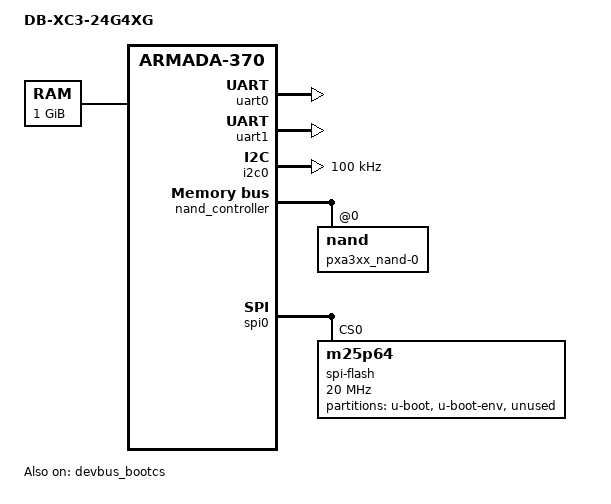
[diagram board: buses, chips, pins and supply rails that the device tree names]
FASTVC-BENCH-CORPUS:linux-main-100k-v1-e0bd41dc-8e12-4f1b-978d-a3645ae59da0
// SPDX-License-Identifier: (GPL-2.0+ OR MIT)
/*
 * Device Tree file for DB-XC3-24G4XG board
 *
 * Copyright (C) 2016 Allied Telesis Labs
/* bench 20943.0.0 9e3f0ca719c5 */
/* bench 20943.0.1 c22e3554c2f2 */
/* bench 20943.0.2 257d23a644bd */
/* bench 20943.0.3 8b692de707be */
/* bench 20943.0.4 5622f7fd3ee6 */
 *
 * Note: this Device Tree assumes that the bootloader has remapped the
 * internal registers to 0xf1000000 (instead of the default
 * 0xd0000000). The 0xf1000000 is the default used by the recent,
 * DT-capable, U-Boot bootloaders provided by Marvell. Some earlier
 * boards were delivered with an older version of the bootloader that
 * left internal registers mapped at 0xd0000000. If you are in this
 * situation, you should either update your bootloader (preferred
 * solution) or the below Device Tree should be adjusted.
 */

/dts-v1/;
#include "armada-xp-98dx3336.dtsi"

/ {
	model = "DB-XC3-24G4XG";
	compatible = "marvell,db-xc3-24g4xg", "marvell,armadaxp-98dx3336", "marvell,armada-370-xp";

	chosen {
		bootargs = "console=ttyS0,115200 earlyprintk";
	};

	memory {
		device_type = "memory";
		reg = <0 0x00000000 0 0x40000000>; /* 1 GB */
	};
};

&L2 {
	arm,parity-enable;
	marvell,ecc-enable;
};

&devbus_bootcs {
	status = "okay";

	/* Device Bus parameters are required */

	/* Read parameters */
	devbus,bus-width    = <16>;
	devbus,turn-off-ps  = <60000>;
	devbus,badr-skew-ps = <0>;
	devbus,acc-first-ps = <124000>;
	devbus,acc-next-ps  = <248000>;
	devbus,rd-setup-ps  = <0>;
	devbus,rd-hold-ps   = <0>;

	/* Write parameters */
/* bench 7544.1.0 7f295b6204f8 */
/* bench 7544.1.1 bdeb8430876a */
/* bench 7544.1.2 910c3570c3b7 */
/* bench 7544.1.3 f2b250c536ce */
/* bench 7544.1.4 a17717d4f80d */
/* bench 7544.1.5 f46c821fa342 */
/* bench 7544.1.6 411d82cd3ae0 */
/* bench 7544.1.7 95d68d1d4ffc */
/* bench 7544.1.8 9ca5064b99b8 */
/* bench 7544.1.9 49a9b9f54a0d */
/* bench 7544.1.10 d8be5a747975 */
/* bench 7544.1.11 23caec9c6bc9 */
/* bench 7544.1.12 305c59bf17a7 */
/* bench 7544.1.13 4f28d580e7f8 */
/* bench 7544.1.14 91a621a4d431 */
/* bench 7544.1.15 2ed6e24a57b6 */
	devbus,wr-low-ps   = <60000>;
	devbus,ale-wr-ps   = <60000>;
};

&uart0 {
	status = "okay";
};

&uart1 {
	status = "okay";
};

&i2c0 {
	clock-frequency = <100000>;
	status = "okay";
};

&nand_controller {
	status = "okay";

	nand@0 {
		reg = <0>;
		label = "pxa3xx_nand-0";
		nand-rb = <0>;
		marvell,nand-keep-config;
		nand-on-flash-bbt;
		nand-ecc-strength = <4>;
		nand-ecc-step-size = <512>;
	};
};

&spi0 {
	status = "okay";

	spi-flash@0 {
		#address-cells = <1>;
		#size-cells = <1>;
		compatible = "m25p64";
		reg = <0>; /* Chip select 0 */
		spi-max-frequency = <20000000>;
		m25p,fast-read;

		partition@u-boot {
			reg = <0x00000000 0x00100000>;
			label = "u-boot";
		};
		partition@u-boot-env {
			reg = <0x00100000 0x00040000>;
			label = "u-boot-env";
		};
		partition@unused {
			reg = <0x00140000 0x00ec0000>;
			label = "unused";
		};

	};
};
